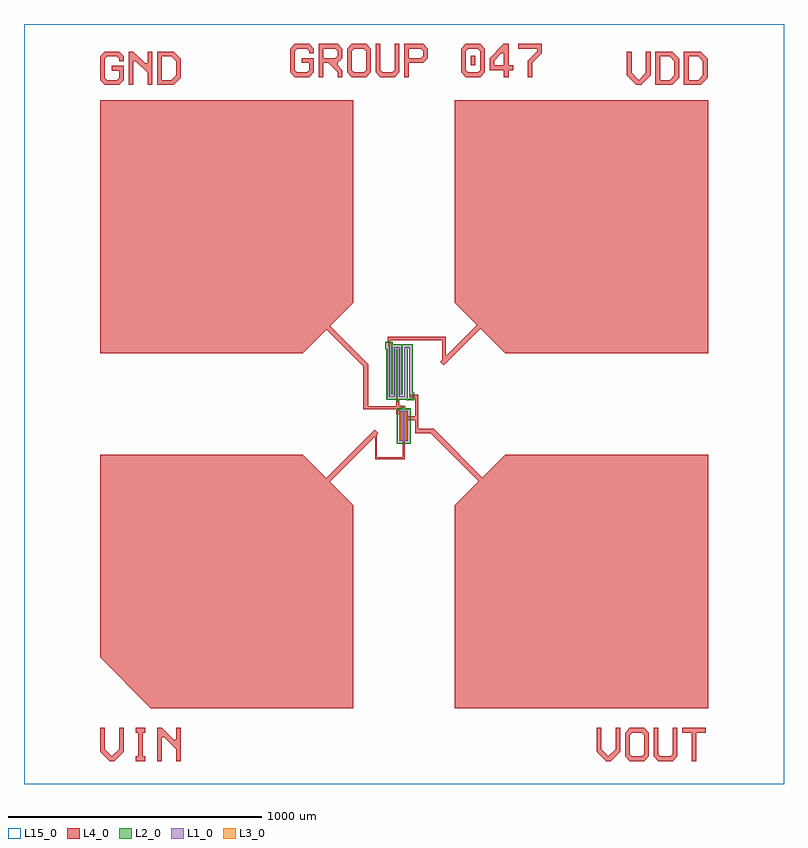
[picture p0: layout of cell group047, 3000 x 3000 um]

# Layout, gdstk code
import gdstk
lib = gdstk.Library(unit=1e-6, precision=1e-09)
def R(c, l, rs):  # rectangles x0, y0, x1, y1
    for r in rs: c.add(gdstk.rectangle(r[:2], r[2:], *l))
def A(c, l, x, y, w, h, nx, ny, dx, dy):  # array of equal rectangles
    R(c, l, [(x+i*dx, y+j*dy, x+i*dx+w, y+j*dy+h) for i in range(nx) for j in range(ny)])
def P(c, l, *ps):  # polygons
    for p in ps: c.add(gdstk.Polygon(p, *l))
L1_0 = (1, 0)
L2_0 = (2, 0)
L3_0 = (3, 0)
L4_0 = (4, 0)
L15_0 = (15, 0)

text_9 = lib.new_cell('TEXT$9')
P(text_9, L4_0, [(18.75,0),(0,18.75),(0,112.5),(18.75,131.25),(75,131.25),(93.75,112.5),(93.75,93.75),(75,93.75),(75,103.125),(65.625,112.5),(28.125,112.5),(18.75,103.125),(18.75,28.125),(28.125,18.75),(65.625,18.75),(75,28.125),(75,56.25),(46.875,56.25),(46.875,75),(93.75,75),(93.75,18.75),(75,0)],
  [(112.5,0),(112.5,131.25),(131.25,131.25),(178.125,84.375),(187.5,84.375),(187.5,131.25),(206.25,131.25),(206.25,0),(187.5,0),(187.5,46.875),(140.625,93.75),(131.25,93.75),(131.25,0)],
  [(225,0),(225,131.25),(290.625,131.25),(309.375,112.5),(243.75,112.5),(243.75,18.75),(281.25,18.75),(300,37.5),(300,93.75),(281.25,112.5),(309.375,112.5),(318.75,103.125),(318.75,28.125),(290.625,0)])

text_11 = lib.new_cell('TEXT$11')
P(text_11, L4_0, [(37.5,0),(0,37.5),(0,131.25),(18.75,131.25),(18.75,46.875),(46.875,18.75),(75,46.875),(75,131.25),(93.75,131.25),(93.75,37.5),(56.25,0)],
  [(112.5,0),(112.5,131.25),(178.125,131.25),(196.875,112.5),(131.25,112.5),(131.25,18.75),(168.75,18.75),(187.5,37.5),(187.5,93.75),(168.75,112.5),(196.875,112.5),(206.25,103.125),(206.25,28.125),(178.125,0)],
  [(225,0),(225,131.25),(290.625,131.25),(309.375,112.5),(243.75,112.5),(243.75,18.75),(281.25,18.75),(300,37.5),(300,93.75),(281.25,112.5),(309.375,112.5),(318.75,103.125),(318.75,28.125),(290.625,0)])

text_1 = lib.new_cell('TEXT$1')
P(text_1, L4_0, [(37.5,0),(0,37.5),(0,131.25),(18.75,131.25),(18.75,46.875),(46.875,18.75),(75,46.875),(75,131.25),(93.75,131.25),(93.75,37.5),(56.25,0)],
  [(140.625,0),(140.625,18.75),(150,18.75),(150,112.5),(140.625,112.5),(140.625,131.25),(178.125,131.25),(178.125,112.5),(168.75,112.5),(168.75,18.75),(178.125,18.75),(178.125,0)],
  [(225,0),(225,131.25),(243.75,131.25),(290.625,84.375),(300,84.375),(300,131.25),(318.75,131.25),(318.75,0),(300,0),(300,46.875),(253.125,93.75),(243.75,93.75),(243.75,0)])

text_2 = lib.new_cell('TEXT$2')
P(text_2, L4_0, [(37.5,0),(0,37.5),(0,131.25),(18.75,131.25),(18.75,46.875),(46.875,18.75),(75,46.875),(75,131.25),(93.75,131.25),(93.75,37.5),(56.25,0)],
  [(131.25,0),(112.5,18.75),(112.5,112.5),(131.25,131.25),(187.5,131.25),(206.25,112.5),(206.25,65.625),(187.5,65.625),(187.5,103.125),(178.125,112.5),(140.625,112.5),(131.25,103.125),(131.25,28.125),(140.625,18.75),(178.125,18.75),(187.5,28.125),(187.5,65.625),(206.25,65.625),(206.25,18.75),(187.5,0)],
  [(243.75,0),(225,18.75),(225,131.25),(243.75,131.25),(243.75,28.125),(253.125,18.75),(290.625,18.75),(300,28.125),(300,131.25),(318.75,131.25),(318.75,18.75),(300,0)],
  [(375,0),(375,112.5),(337.5,112.5),(337.5,131.25),(431.25,131.25),(431.25,112.5),(393.75,112.5),(393.75,0)])

text = lib.new_cell('TEXT')
R(text, L4_0, [(712.5,46.875,731.25,84.375)])
P(text, L4_0, [(18.75,0),(0,18.75),(0,112.5),(18.75,131.25),(75,131.25),(93.75,112.5),(93.75,93.75),(75,93.75),(75,103.125),(65.625,112.5),(28.125,112.5),(18.75,103.125),(18.75,28.125),(28.125,18.75),(65.625,18.75),(75,28.125),(75,56.25),(46.875,56.25),(46.875,75),(93.75,75),(93.75,18.75),(75,0)],
  [(112.5,0),(112.5,131.25),(187.5,131.25),(206.25,112.5),(131.25,112.5),(131.25,75),(178.125,75),(187.5,84.375),(187.5,103.125),(178.125,112.5),(206.25,112.5),(206.25,75),(187.5,56.25),(187.5,46.875),(206.25,28.125),(206.25,0),(187.5,0),(187.5,18.75),(150,56.25),(131.25,56.25),(131.25,0)],
  [(243.75,0),(225,18.75),(225,112.5),(243.75,131.25),(300,131.25),(318.75,112.5),(318.75,65.625),(300,65.625),(300,103.125),(290.625,112.5),(253.125,112.5),(243.75,103.125),(243.75,28.125),(253.125,18.75),(290.625,18.75),(300,28.125),(300,65.625),(318.75,65.625),(318.75,18.75),(300,0)],
  [(356.25,0),(337.5,18.75),(337.5,131.25),(356.25,131.25),(356.25,28.125),(365.625,18.75),(403.125,18.75),(412.5,28.125),(412.5,131.25),(431.25,131.25),(431.25,18.75),(412.5,0)],
  [(450,0),(450,131.25),(525,131.25),(543.75,112.5),(543.75,75),(525,56.25),(468.75,56.25),(468.75,75),(515.625,75),(525,84.375),(525,103.125),(515.625,112.5),(468.75,112.5),(468.75,0)],
  [(693.75,0),(675,18.75),(675,112.5),(693.75,131.25),(750,131.25),(768.75,112.5),(703.125,112.5),(693.75,103.125),(693.75,28.125),(703.125,18.75),(740.625,18.75),(750,28.125),(750,103.125),(740.625,112.5),(768.75,112.5),(768.75,18.75),(750,0)],
  [(843.75,0),(843.75,28.125),(787.5,28.125),(787.5,46.875),(843.75,46.875),(843.75,93.75),(834.375,93.75),(806.25,65.625),(806.25,46.875),(787.5,46.875),(787.5,75),(843.75,131.25),(862.5,131.25),(862.5,46.875),(881.25,46.875),(881.25,28.125),(862.5,28.125),(862.5,0)],
  [(937.5,0),(937.5,65.625),(975,103.125),(975,112.5),(900,112.5),(900,131.25),(993.75,131.25),(993.75,93.75),(956.25,56.25),(956.25,0)])

group047 = lib.new_cell('group047')
A(group047, L1_0, -40, 26, 5, 200, 3, 1, 20, 0)
R(group047, L1_0, [(-19,-147,-3,-27), (1,-147,17,-27), (20,25,31,36), (-60,26,-35,31), (-60,26,-55,231), (-20,26,5,31), (20,31,25,226), (-40,221,-15,226), (0,221,25,226), (-65,226,-55,236)])
P(group047, L1_0, [(55,123),(55,123),(55,123),(55,123)],
  [(264,74),(264,74),(264,74),(264,74)])
R(group047, L2_0, [(-29,-157,27,-152), (-29,-157,-24,-17), (22,-157,27,-17), (-29,-22,27,-17), (-6,-18,5,-6), (-30,9,-19,20), (10,15,15,216), (10,15,40,20), (35,15,40,46), (-70,16,-65,221), (-70,16,15,21), (-30,16,-25,216), (-50,36,-45,246), (-10,36,-5,236), (30,41,35,236), (30,41,40,46), (-75,216,-65,221), (-75,216,-70,246), (-50,231,35,236), (-75,241,-45,246)])
R(group047, L3_0, [(-16,-142,-11,-32), (9,-142,14,-32), (-3,-14,2,-9), (-27,12,-22,17), (23.5,28.5,27.5,32.5), (-62,229,-58,233)])
R(group047, L4_0, [(-114,-218,3,-211), (-114,-218,-107,-113), (-5,-218,3,-27), (-19,-145,-8,-29), (6,-145,17,-29), (45,-115,56,36), (54,-115,117.574,-98.431), (15,-63.5,46,-48.5), (-30,-40,-18,-17), (-160,-20,-29,-8), (-160,-20,-140.931,157.574), (-30,-17,5,-6), (-30,-11,-19,20), (20,25,54,36), (150,165,165,266), (-65,226,-55,266), (-60,251,165,266)])
P(group047, L4_0, [(-302.426,-316.569),(-316.569,-302.426),(-115.074,-100.931),(-100.931,-115.074)],
  [(307.426,-316.569),(103.431,-112.574),(117.574,-98.431),(321.569,-302.426)],
  [(157.574,153.431),(143.431,167.574),(297.426,321.569),(311.569,307.426)],
  [(-155.074,143.431),(-316.569,304.926),(-302.426,319.069),(-140.931,157.574)],
  [(-1000,-1200),(-1200,-1000),(-1200,-200),(-400,-200),(-200,-400),(-200,-1200)],
  [(-1200,200),(-1200,1200),(-200,1200),(-200,400),(-400,200)],
  [(400,200),(200,400),(200,1200),(1200,1200),(1200,200)],
  [(200,-1200),(200,-400),(400,-200),(1200,-200),(1200,-1200)])
R(group047, L15_0, [(-1500,-1500,1500,1500)])
group047.add(gdstk.Reference(text_9, (-1200,1260)))
group047.add(gdstk.Reference(text_11, (880,1260)))
group047.add(gdstk.Reference(text_1, (-1200,-1410)))
group047.add(gdstk.Reference(text_2, (760,-1410)))
group047.add(gdstk.Reference(text, (-450,1290)))

lib.write_gds('group047.gds')
